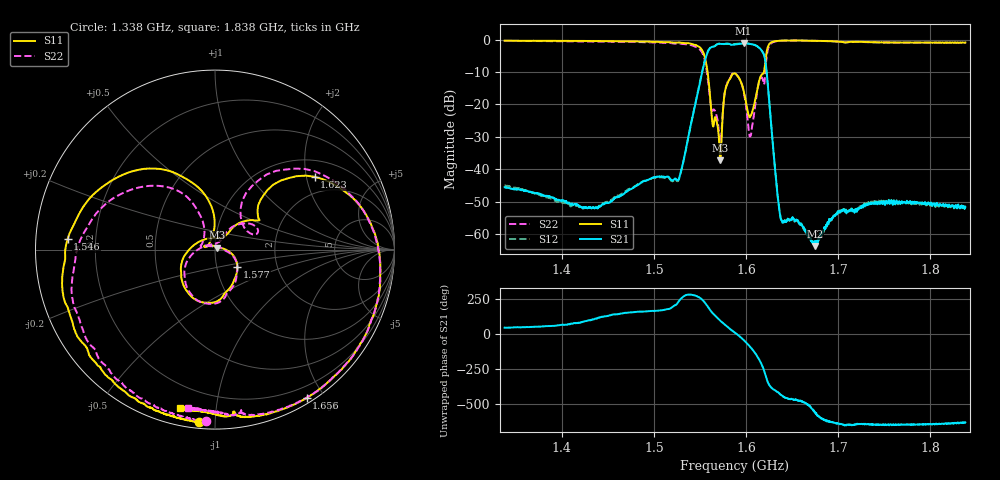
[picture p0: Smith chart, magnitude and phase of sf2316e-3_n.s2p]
# Hz S RI R 50
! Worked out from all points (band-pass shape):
!   1601 points, 1.338 GHz to 1.838 GHz, reference 50 ohm
!   highest |S21| = -1.12 dB at 1.597 GHz (marker M1); lowest = -63.8 dB at 1.675 GHz (marker M2)
!   |S21| within 3 dB of the highest: 1.558 GHz to 1.619 GHz (60.65 MHz wide, 3.82 % of centre)
!   lowest |S11| = -37.3 dB at 1.572 GHz (marker M3), VSWR 1.03, Z = 50.9 + j1.02 ohm
!   |S11| at or under -10 dB: 1.558 GHz to 1.619 GHz (61.15 MHz wide, 3.85 % of centre)
!   |S22| runs from -33.3 to -0.2 dB; largest |S21 - S12| = 0.019
!   S11 on the Smith chart (normalised r, x): 1.338 GHz: 0.03, -0.91; 1.546 GHz: 0.10, +0.04; 1.577 GHz: 1.26, -0.25; 1.623 GHz: 1.45, +2.24; 1.656 GHz: 0.06, -1.79; 1.838 GHz: 0.08, -0.80
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1.338e9  -0.0896 -0.9613  0.00362 0.00384  0.00386 0.00411  -0.0493 -0.9559
1.421438e9  -0.281 -0.9162  0.000151 0.0026  -9.45e-06 0.00249  -0.2306 -0.9159
1.504875e9  -0.6124 -0.6949  -0.00753 0.00162  -0.00729 0.0016  -0.5579 -0.7133
1.527062e9  -0.7694 -0.4785  -0.00398 -0.00588  -0.00369 -0.0058  -0.7078 -0.514
1.545812e9  -0.8215 0.0582  0.00711 -0.1152  0.0127 -0.1183  -0.7742 -0.0207
1.555188e9  -0.3031 0.4491  -0.3221 -0.3361  -0.3387 -0.3453  -0.3403 0.356
1.561125e9  -0.00294 0.124  -0.7381 0.1071  -0.7428 0.1145  -0.0585 0.0969
1.572062e9  0.00932 0.01  -0.0899 0.8571  -0.0895 0.8588  -0.0011 0.0216
1.577062e9  0.1246 -0.0973  0.3175 0.8021  0.3123 0.8024  0.1251 -0.098
1.588e9  -0.098 -0.2848  0.827 0.1707  0.836 0.1805  -0.0772 -0.2933
1.597375e9  -0.1611 -0.0216  0.663 -0.5778  0.6653 -0.5843  -0.1479 -0.0525
1.604875e9  0.0171 0.0641  -0.0451 -0.8558  -0.0475 -0.8573  0.00188 0.0327
1.612688e9  0.1214 0.14  -0.7492 -0.2249  -0.7469 -0.2284  0.1174 0.1364
1.618312e9  0.2469 0.166  -0.3463 0.5306  -0.3511 0.5324  0.2219 0.0836
1.622688e9  0.5552 0.4057  0.2367 0.1559  0.2366 0.1581  0.395 0.4464
1.628e9  0.9178 -0.0452  0.0328 -0.0151  0.0334 -0.0153  0.8939 0.0673
1.637375e9  0.8111 -0.5212  0.000571 -0.00172  0.000579 -0.00172  0.8489 -0.4549
1.656125e9  0.51 -0.8273  -0.000624 -0.00149  -0.000612 -0.00148  0.5572 -0.7958
1.671438e9  0.3388 -0.9009  -0.000733 -0.000107  -0.000772 -0.000143  0.3847 -0.8818
1.674875e9  0.3081 -0.9126  -0.00062 0.000193  -0.000651 0.000164  0.3553 -0.8937
1.754875e9  -0.0446 -0.9067  0.000921 0.0032  0.00102 0.00321  0.00121 -0.9041
1.838e9  -0.1965 -0.8823  -3.54e-05 0.00261  -0.000151 0.00268  -0.1479 -0.8816
